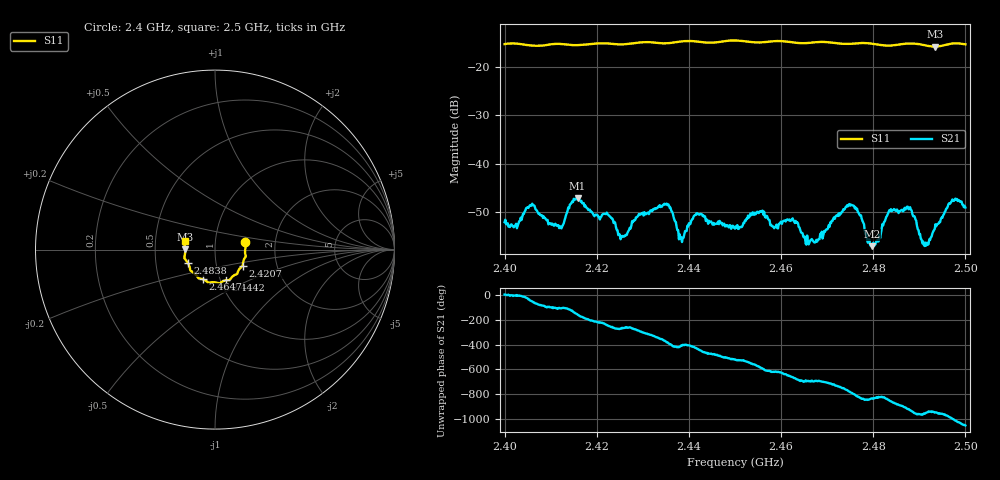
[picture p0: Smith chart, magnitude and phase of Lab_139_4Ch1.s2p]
# Hz S RI R 50
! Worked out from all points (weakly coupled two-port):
!   601 points, 2.4 GHz to 2.5 GHz, reference 50 ohm
!   highest |S21| = -47.25 dB at 2.4158 GHz (marker M1); lowest = -57.2 dB at 2.4797 GHz (marker M2)
!   lowest |S11| = -15.7 dB at 2.4935 GHz (marker M3), VSWR 1.39, Z = 35.9 + j0.105 ohm
!   |S11| at or under -10 dB: start of sweep to end of sweep
!   S12 and S22 are empty: the file has one direction only
!   S11 on the Smith chart (normalised r, x): 2.4 GHz: 1.40, +0.11; 2.4207 GHz: 1.34, -0.25; 2.4442 GHz: 1.06, -0.37; 2.4647 GHz: 0.83, -0.29; 2.4838 GHz: 0.73, -0.11; 2.5 GHz: 0.71, +0.07
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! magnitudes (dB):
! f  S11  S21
! 2.4 GHz  -15.2  -52.2
! 2.406 GHz  -15.5  -48.4
! 2.4123 GHz  -15.1  -53.5
! 2.4158 GHz  -15.4  -47.2
! 2.4167 GHz  -15.3  -47.8
! 2.4207 GHz  -15.0  -51.6
! 2.4257 GHz  -15.2  -55.1
! 2.4333 GHz  -14.9  -49.0
! 2.4383 GHz  -14.6  -55.4
! 2.4442 GHz  -14.9  -52.5
! 2.45 GHz  -14.4  -53.5
! 2.4558 GHz  -14.8  -49.8
! 2.4647 GHz  -15.0  -54.5
! 2.4667 GHz  -14.9  -55.7
! 2.4752 GHz  -15.1  -48.6
! 2.4797 GHz  -15.1  -57.2
! 2.4833 GHz  -15.5  -50.1
! 2.4838 GHz  -15.5  -49.5
! 2.4878 GHz  -15.0  -49.5
! 2.4912 GHz  -15.4  -57.2
! 2.4935 GHz  -15.7  -52.6
! 2.5 GHz  -15.2  -49.2
